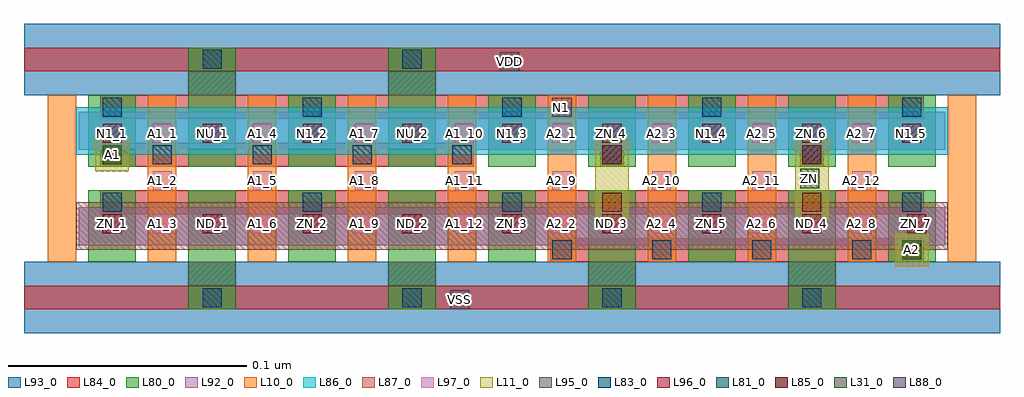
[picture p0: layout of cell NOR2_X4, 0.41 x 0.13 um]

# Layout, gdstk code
import gdstk
lib = gdstk.Library(unit=1e-6, precision=1e-09)
def R(c, l, rs):  # rectangles x0, y0, x1, y1
    for r in rs: c.add(gdstk.rectangle(r[:2], r[2:], *l))
def A(c, l, x, y, w, h, nx, ny, dx, dy):  # array of equal rectangles
    R(c, l, [(x+i*dx, y+j*dy, x+i*dx+w, y+j*dy+h) for i in range(nx) for j in range(ny)])
L10_0 = (10, 0)
L11_0 = (11, 0)
L31_0 = (31, 0)
L80_0 = (80, 0)
L81_0 = (81, 0)
L83_0 = (83, 0)
L84_0 = (84, 0)
L85_0 = (85, 0)
L86_0 = (86, 0)
L87_0 = (87, 0)
L88_0 = (88, 0)
L92_0 = (92, 0)
L93_0 = (93, 0)
L95_0 = (95, 0)
L96_0 = (96, 0)
L97_0 = (97, 0)

nor2_x4 = lib.new_cell('NOR2_X4')
A(nor2_x4, L10_0, -0.027, 0.015, 0.012, 0.07, 10, 1, 0.042, 0)
R(nor2_x4, L11_0, [(0.329,0.013,0.343,0.027), (0.203,0.033,0.217,0.067), (0.287,0.033,0.301,0.067), (-0.007,0.053,0.007,0.067)])
R(nor2_x4, L31_0, [(0.332,0.016,0.34,0.024), (0.289,0.046,0.297,0.054), (-0.004,0.056,0.004,0.064)])
A(nor2_x4, L80_0, 0.032, -0.005, 0.02, 0.03, 4, 1, 0.084, 0)
A(nor2_x4, L80_0, -0.01, 0.015, 0.02, 0.03, 9, 2, 0.042, 0.04)
R(nor2_x4, L80_0, [(0.032,0.075,0.052,0.105), (0.116,0.075,0.136,0.105)])
A(nor2_x4, L81_0, 0.185, 0.016, 0.008, 0.008, 4, 1, 0.042, 0)
A(nor2_x4, L81_0, 0.017, 0.056, 0.008, 0.008, 4, 1, 0.042, 0)
A(nor2_x4, L83_0, 0.038, -0.004, 0.008, 0.008, 4, 1, 0.084, 0)
A(nor2_x4, L83_0, -0.004, 0.036, 0.008, 0.008, 5, 2, 0.084, 0.04)
R(nor2_x4, L83_0, [(0.206,0.056,0.214,0.064), (0.29,0.056,0.298,0.064), (0.038,0.096,0.046,0.104), (0.122,0.096,0.13,0.104)])
A(nor2_x4, L84_0, 0.184, 0.015, 0.031, 0.01, 5, 1, 0.021, 0)
A(nor2_x4, L84_0, -0.005, 0.035, 0.031, 0.01, 16, 2, 0.021, 0.04)
A(nor2_x4, L84_0, 0.037, 0.055, 0.031, 0.01, 5, 1, 0.021, 0)
R(nor2_x4, L84_0, [(-0.037,-0.005,0.373,0.005), (0.289,0.015,0.341,0.025), (-0.005,0.055,0.047,0.065), (0.205,0.055,0.215,0.065), (0.289,0.055,0.299,0.065), (-0.037,0.095,0.373,0.105)])
R(nor2_x4, L85_0, [(0.332,0.016,0.34,0.024), (0.206,0.036,0.214,0.044), (0.29,0.036,0.298,0.044), (-0.004,0.056,0.004,0.064), (0.206,0.056,0.214,0.064), (0.29,0.056,0.298,0.064)])
R(nor2_x4, L86_0, [(-0.015,0.06,0.351,0.08)])
R(nor2_x4, L87_0, [(-0.015,0.02,0.351,0.04)])
R(nor2_x4, L88_0, [(0.142,-0.005,0.15,0.003), (0.185,0.076,0.193,0.084), (0.163,0.095,0.171,0.103)])
R(nor2_x4, L92_0, [(-0.014,0.022,0.35,0.038), (-0.014,0.062,0.35,0.078)])
R(nor2_x4, L93_0, [(-0.037,-0.015,0.373,0.015), (-0.037,0.085,0.373,0.115)])
A(nor2_x4, L95_0, 0.032, 0.005, 0.02, 0.01, 4, 1, 0.084, 0)
R(nor2_x4, L95_0, [(0.032,0.085,0.052,0.095), (0.116,0.085,0.136,0.095)])
A(nor2_x4, L96_0, -0.004, 0.027, 0.008, 0.008, 8, 1, 0.042, 0)
A(nor2_x4, L96_0, -0.004, 0.065, 0.008, 0.008, 9, 1, 0.042, 0)
R(nor2_x4, L96_0, [(0.334,0.027,0.342,0.035)])
A(nor2_x4, L97_0, 0.185, 0.027, 0.008, 0.008, 4, 2, 0.042, 0.018)
A(nor2_x4, L97_0, 0.185, 0.065, 0.008, 0.008, 4, 1, 0.042, 0)
R(nor2_x4, L97_0, [(0.017,0.027,0.025,0.035), (0.059,0.027,0.067,0.035), (0.102,0.027,0.11,0.035), (0.144,0.027,0.152,0.035), (0.017,0.045,0.025,0.053), (0.059,0.045,0.067,0.053), (0.102,0.045,0.11,0.053), (0.144,0.045,0.152,0.053), (0.017,0.065,0.025,0.073), (0.059,0.065,0.067,0.073), (0.102,0.065,0.11,0.073), (0.144,0.065,0.152,0.073)])
nor2_x4.add(gdstk.Label('A1', (0,0.06), layer=31, texttype=0))
nor2_x4.add(gdstk.Label('ZN', (0.293,0.05), layer=31, texttype=0))
nor2_x4.add(gdstk.Label('A2', (0.336,0.02), layer=31, texttype=0))
nor2_x4.add(gdstk.Label('A1_3', (0.021,0.031), layer=97, texttype=0))
nor2_x4.add(gdstk.Label('A1_2', (0.021,0.049), layer=97, texttype=0))
nor2_x4.add(gdstk.Label('A1_1', (0.021,0.069), layer=97, texttype=0))
nor2_x4.add(gdstk.Label('A1_6', (0.063,0.031), layer=97, texttype=0))
nor2_x4.add(gdstk.Label('A1_5', (0.063,0.049), layer=97, texttype=0))
nor2_x4.add(gdstk.Label('A1_4', (0.063,0.069), layer=97, texttype=0))
nor2_x4.add(gdstk.Label('A2_1', (0.189,0.069), layer=97, texttype=0))
nor2_x4.add(gdstk.Label('A2_9', (0.189,0.049), layer=97, texttype=0))
nor2_x4.add(gdstk.Label('A2_2', (0.189,0.031), layer=97, texttype=0))
nor2_x4.add(gdstk.Label('A2_4', (0.231,0.031), layer=97, texttype=0))
nor2_x4.add(gdstk.Label('A2_12', (0.315,0.049), layer=97, texttype=0))
nor2_x4.add(gdstk.Label('A2_8', (0.315,0.031), layer=97, texttype=0))
nor2_x4.add(gdstk.Label('A2_10', (0.231,0.049), layer=97, texttype=0))
nor2_x4.add(gdstk.Label('A2_3', (0.231,0.069), layer=97, texttype=0))
nor2_x4.add(gdstk.Label('A2_5', (0.273,0.069), layer=97, texttype=0))
nor2_x4.add(gdstk.Label('A2_11', (0.273,0.049), layer=97, texttype=0))
nor2_x4.add(gdstk.Label('A2_6', (0.273,0.031), layer=97, texttype=0))
nor2_x4.add(gdstk.Label('A2_7', (0.315,0.069), layer=97, texttype=0))
nor2_x4.add(gdstk.Label('A1_7', (0.106,0.069), layer=97, texttype=0))
nor2_x4.add(gdstk.Label('A1_8', (0.106,0.049), layer=97, texttype=0))
nor2_x4.add(gdstk.Label('A1_9', (0.106,0.031), layer=97, texttype=0))
nor2_x4.add(gdstk.Label('A1_10', (0.148,0.069), layer=97, texttype=0))
nor2_x4.add(gdstk.Label('A1_11', (0.148,0.049), layer=97, texttype=0))
nor2_x4.add(gdstk.Label('A1_12', (0.148,0.031), layer=97, texttype=0))
nor2_x4.add(gdstk.Label('ND_1', (0.042,0.031), layer=96, texttype=0))
nor2_x4.add(gdstk.Label('ZN_1', (0,0.031), layer=96, texttype=0))
nor2_x4.add(gdstk.Label('N1_1', (0,0.069), layer=96, texttype=0))
nor2_x4.add(gdstk.Label('N1_2', (0.084,0.069), layer=96, texttype=0))
nor2_x4.add(gdstk.Label('ZN_2', (0.084,0.031), layer=96, texttype=0))
nor2_x4.add(gdstk.Label('NU_1', (0.042,0.069), layer=96, texttype=0))
nor2_x4.add(gdstk.Label('NU_2', (0.126,0.069), layer=96, texttype=0))
nor2_x4.add(gdstk.Label('ND_2', (0.126,0.031), layer=96, texttype=0))
nor2_x4.add(gdstk.Label('ZN_3', (0.168,0.031), layer=96, texttype=0))
nor2_x4.add(gdstk.Label('N1_3', (0.168,0.069), layer=96, texttype=0))
nor2_x4.add(gdstk.Label('ZN_7', (0.338,0.031), layer=96, texttype=0))
nor2_x4.add(gdstk.Label('N1_5', (0.336,0.069), layer=96, texttype=0))
nor2_x4.add(gdstk.Label('ZN_5', (0.252,0.031), layer=96, texttype=0))
nor2_x4.add(gdstk.Label('ND_4', (0.294,0.031), layer=96, texttype=0))
nor2_x4.add(gdstk.Label('ZN_6', (0.294,0.069), layer=96, texttype=0))
nor2_x4.add(gdstk.Label('N1_4', (0.252,0.069), layer=96, texttype=0))
nor2_x4.add(gdstk.Label('ND_3', (0.21,0.031), layer=96, texttype=0))
nor2_x4.add(gdstk.Label('ZN_4', (0.21,0.069), layer=96, texttype=0))
nor2_x4.add(gdstk.Label('N1', (0.189,0.08), layer=88, texttype=0))
nor2_x4.add(gdstk.Label('VSS', (0.146,-0.001), layer=88, texttype=0))
nor2_x4.add(gdstk.Label('VDD', (0.167,0.099), layer=88, texttype=0))

lib.write_gds('NOR2_X4.gds')
